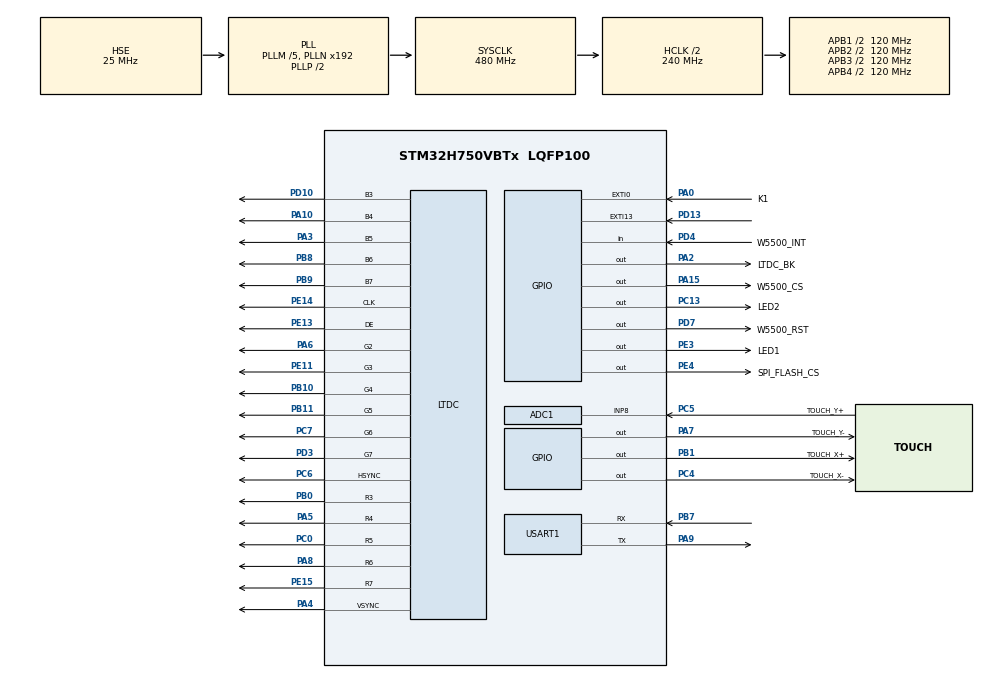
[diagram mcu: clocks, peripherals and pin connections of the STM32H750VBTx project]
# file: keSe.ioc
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ADC1.Channel-1\#ChannelRegularConversion=ADC_CHANNEL_8
ADC1.NbrOfConversionFlag=1
ADC1.OffsetNumber-1\#ChannelRegularConversion=ADC_OFFSET_NONE
ADC1.OffsetSignedSaturation-1\#ChannelRegularConversion=DISABLE
ADC1.Rank-1\#ChannelRegularConversion=1
ADC1.SamplingTime-1\#ChannelRegularConversion=ADC_SAMPLETIME_8CYCLES_5
ADC1.master=1
ADC3.Channel-0\#ChannelRegularConversion=ADC_CHANNEL_TEMPSENSOR
ADC3.NbrOfConversionFlag=1
ADC3.OffsetNumber-0\#ChannelRegularConversion=ADC_OFFSET_NONE
ADC3.OffsetSignedSaturation-0\#ChannelRegularConversion=DISABLE
ADC3.Rank-0\#ChannelRegularConversion=1
ADC3.SamplingTime-0\#ChannelRegularConversion=ADC_SAMPLETIME_810CYCLES_5
CORTEX_M7.AccessPermission-Cortex_Memory_Protection_Unit_Region0_Settings=MPU_REGION_FULL_ACCESS
CORTEX_M7.AccessPermission-Cortex_Memory_Protection_Unit_Region1_Settings=MPU_REGION_FULL_ACCESS
CORTEX_M7.AccessPermission-Cortex_Memory_Protection_Unit_Region2_Settings=MPU_REGION_FULL_ACCESS
CORTEX_M7.AccessPermission-Cortex_Memory_Protection_Unit_Region3_Settings=MPU_REGION_FULL_ACCESS
CORTEX_M7.AccessPermission-Cortex_Memory_Protection_Unit_Region4_Settings=MPU_REGION_FULL_ACCESS
CORTEX_M7.BaseAddress-Cortex_Memory_Protection_Unit_Region0_Settings=0x24000000
CORTEX_M7.BaseAddress-Cortex_Memory_Protection_Unit_Region1_Settings=0x30000000
CORTEX_M7.BaseAddress-Cortex_Memory_Protection_Unit_Region2_Settings=0x30020000
CORTEX_M7.BaseAddress-Cortex_Memory_Protection_Unit_Region3_Settings=0x30040000
CORTEX_M7.BaseAddress-Cortex_Memory_Protection_Unit_Region4_Settings=0x38000000
CORTEX_M7.CPU_DCache=Enabled
CORTEX_M7.CPU_ICache=Enabled
CORTEX_M7.Enable-Cortex_Memory_Protection_Unit_Region0_Settings=MPU_REGION_ENABLE
CORTEX_M7.Enable-Cortex_Memory_Protection_Unit_Region1_Settings=MPU_REGION_ENABLE
CORTEX_M7.Enable-Cortex_Memory_Protection_Unit_Region2_Settings=MPU_REGION_ENABLE
CORTEX_M7.Enable-Cortex_Memory_Protection_Unit_Region3_Settings=MPU_REGION_ENABLE
CORTEX_M7.Enable-Cortex_Memory_Protection_Unit_Region4_Settings=MPU_REGION_ENABLE
CORTEX_M7.IsBufferable-Cortex_Memory_Protection_Unit_Region0_Settings=MPU_ACCESS_BUFFERABLE
CORTEX_M7.IsBufferable-Cortex_Memory_Protection_Unit_Region1_Settings=MPU_ACCESS_NOT_BUFFERABLE
CORTEX_M7.IsCacheable-Cortex_Memory_Protection_Unit_Region0_Settings=MPU_ACCESS_CACHEABLE
CORTEX_M7.IsCacheable-Cortex_Memory_Protection_Unit_Region1_Settings=MPU_ACCESS_CACHEABLE
CORTEX_M7.IsCacheable-Cortex_Memory_Protection_Unit_Region2_Settings=MPU_ACCESS_CACHEABLE
CORTEX_M7.IsCacheable-Cortex_Memory_Protection_Unit_Region3_Settings=MPU_ACCESS_CACHEABLE
CORTEX_M7.IsCacheable-Cortex_Memory_Protection_Unit_Region4_Settings=MPU_ACCESS_CACHEABLE
CORTEX_M7.IsShareable-Cortex_Memory_Protection_Unit_Region0_Settings=MPU_ACCESS_SHAREABLE
CORTEX_M7.MPU_Control=MPU_PRIVILEGED_DEFAULT
CORTEX_M7.Size-Cortex_Memory_Protection_Unit_Region0_Settings=MPU_REGION_SIZE_512KB
CORTEX_M7.Size-Cortex_Memory_Protection_Unit_Region1_Settings=MPU_REGION_SIZE_128KB
CORTEX_M7.Size-Cortex_Memory_Protection_Unit_Region2_Settings=MPU_REGION_SIZE_128KB
CORTEX_M7.Size-Cortex_Memory_Protection_Unit_Region3_Settings=MPU_REGION_SIZE_32KB
CORTEX_M7.Size-Cortex_Memory_Protection_Unit_Region4_Settings=MPU_REGION_SIZE_64KB
CORTEX_M7.TypeExtField-Cortex_Memory_Protection_Unit_Region0_Settings=MPU_TEX_LEVEL1
CORTEX_M7.TypeExtField-Cortex_Memory_Protection_Unit_Region1_Settings=MPU_TEX_LEVEL0
DMA2D.ColorMode=DMA2D_OUTPUT_RGB565
DMA2D.Mode=DMA2D_R2M
LTDC.ActiveH=272
LTDC.ActiveW=480
LTDC.Alpha_L0=255
LTDC.FBStartAdress_L0=0x24040400
LTDC.HBP=43
LTDC.HFP=8
LTDC.HSync=4
LTDC.ImageHeight_L0=272
LTDC.ImageWidth_L0=480
LTDC.Layers=0
LTDC.PixelFormat_L0=LTDC_PIXEL_FORMAT_RGB565
LTDC.VBP=12
LTDC.VFP=8
LTDC.WindowX1_L0=480
LTDC.WindowY1_L0=272
Mcu.Family=STM32H7
Mcu.Name=STM32H750VBTx
Mcu.Package=LQFP100
NVIC.DMA2D_IRQn=true\:0\:0\:false\:false\:true\:true\:true\:true
NVIC.EXTI0_IRQn=true\:4\:0\:true\:false\:true\:true\:true\:true
NVIC.LTDC_ER_IRQn=true\:4\:0\:true\:false\:true\:true\:true\:true
NVIC.LTDC_IRQn=true\:4\:0\:true\:false\:true\:true\:true\:true
NVIC.PriorityGroup=NVIC_PRIORITYGROUP_4
NVIC.TIM17_IRQn=true\:2\:0\:true\:false\:true\:true\:true\:true
NVIC.TIM6_DAC_IRQn=true\:2\:0\:true\:false\:true\:true\:true\:true
PA0.GPIO_Label=K1
PA0.GPIO_ModeDefaultEXTI=GPIO_MODE_IT_FALLING
PA0.GPIO_PuPd=GPIO_PULLUP
PA0.Signal=GPXTI0
PA10.GPIO_Speed=GPIO_SPEED_FREQ_VERY_HIGH
PA10.Mode=RGB565
PA10.Signal=LTDC_B4
PA13\ (JTMS/SWDIO).Mode=Serial_Wire
PA13\ (JTMS/SWDIO).Signal=DEBUG_JTMS-SWDIO
PA14\ (JTCK/SWCLK).Mode=Serial_Wire
PA14\ (JTCK/SWCLK).Signal=DEBUG_JTCK-SWCLK
PA15\ (JTDI).GPIO_Label=W5500_CS
PA15\ (JTDI).GPIO_Speed=GPIO_SPEED_FREQ_MEDIUM
PA15\ (JTDI).PinState=GPIO_PIN_SET
PA15\ (JTDI).Signal=GPIO_Output
PA2.GPIO_Label=LTDC_BK
PA2.GPIO_ModeDefaultOutputPP=GPIO_MODE_OUTPUT_PP
PA2.GPIO_PuPd=GPIO_PULLUP
PA2.Signal=GPIO_Output
PA3.GPIO_Speed=GPIO_SPEED_FREQ_VERY_HIGH
PA3.Mode=RGB565
PA3.Signal=LTDC_B5
PA4.GPIO_Speed=GPIO_SPEED_FREQ_VERY_HIGH
PA4.Mode=RGB565
PA4.Signal=LTDC_VSYNC
PA5.GPIO_Speed=GPIO_SPEED_FREQ_VERY_HIGH
PA5.Mode=RGB565
PA5.Signal=LTDC_R4
PA6.GPIO_Speed=GPIO_SPEED_FREQ_VERY_HIGH
PA6.Mode=RGB565
PA6.Signal=LTDC_G2
PA7.GPIO_Label=TOUCH_Y-
PA7.GPIO_PuPd=GPIO_PULLDOWN
PA7.Signal=GPIO_Output
PA8.GPIO_Speed=GPIO_SPEED_FREQ_VERY_HIGH
PA8.Mode=RGB565
PA8.Signal=LTDC_R6
PA9.Mode=Asynchronous
PA9.Signal=USART1_TX
PB0.GPIO_Speed=GPIO_SPEED_FREQ_VERY_HIGH
PB0.Mode=RGB565
PB0.Signal=LTDC_R3
PB1.GPIO_Label=TOUCH_X+
PB1.Signal=GPIO_Output
PB10.GPIO_Speed=GPIO_SPEED_FREQ_VERY_HIGH
PB10.Mode=RGB565
PB10.Signal=LTDC_G4
PB11.GPIO_Speed=GPIO_SPEED_FREQ_VERY_HIGH
PB11.Mode=RGB565
PB11.Signal=LTDC_G5
PB7.Mode=Asynchronous
PB7.Signal=USART1_RX
PB8.GPIO_Speed=GPIO_SPEED_FREQ_VERY_HIGH
PB8.Mode=RGB565
PB8.Signal=LTDC_B6
PB9.GPIO_Speed=GPIO_SPEED_FREQ_VERY_HIGH
PB9.Mode=RGB565
PB9.Signal=LTDC_B7
PC0.GPIO_Speed=GPIO_SPEED_FREQ_VERY_HIGH
PC0.Mode=RGB565
PC0.Signal=LTDC_R5
PC13.GPIO_Label=LED2
PC13.Signal=GPIO_Output
PC4.GPIO_Label=TOUCH_X-
PC4.Signal=GPIO_Output
PC5.GPIO_Label=TOUCH_Y+
PC5.Signal=ADCx_INP8
PC6.GPIO_Speed=GPIO_SPEED_FREQ_VERY_HIGH
PC6.Mode=RGB565
PC6.Signal=LTDC_HSYNC
PC7.GPIO_Speed=GPIO_SPEED_FREQ_VERY_HIGH
PC7.Mode=RGB565
PC7.Signal=LTDC_G6
PD10.GPIO_Speed=GPIO_SPEED_FREQ_VERY_HIGH
PD10.Mode=RGB565
PD10.Signal=LTDC_B3
PD13.Signal=GPXTI13
PD3.GPIO_Speed=GPIO_SPEED_FREQ_VERY_HIGH
PD3.Mode=RGB565
PD3.Signal=LTDC_G7
PD4.GPIO_Label=W5500_INT
PD4.GPIO_PuPd=GPIO_PULLUP
PD4.Signal=GPIO_Input
PD7.GPIO_Label=W5500_RST
PD7.Signal=GPIO_Output
PE11.GPIO_Speed=GPIO_SPEED_FREQ_VERY_HIGH
PE11.Mode=RGB565
PE11.Signal=LTDC_G3
PE13.GPIO_Speed=GPIO_SPEED_FREQ_VERY_HIGH
PE13.Mode=RGB565
PE13.Signal=LTDC_DE
PE14.GPIO_Speed=GPIO_SPEED_FREQ_VERY_HIGH
PE14.Mode=RGB565
PE14.Signal=LTDC_CLK
PE15.GPIO_Speed=GPIO_SPEED_FREQ_VERY_HIGH
PE15.Mode=RGB565
PE15.Signal=LTDC_R7
PE3.GPIO_Label=LED1
PE3.Signal=GPIO_Output
PE4.GPIO_Label=SPI_FLASH_CS
PE4.GPIO_PuPd=GPIO_PULLDOWN
PE4.GPIO_Speed=GPIO_SPEED_FREQ_VERY_HIGH
PE4.PinState=GPIO_PIN_SET
PE4.Signal=GPIO_Output
PH0-OSC_IN\ (PH0).Mode=HSE-External-Oscillator
PH0-OSC_IN\ (PH0).Signal=RCC_OSC_IN
PH1-OSC_OUT\ (PH1).Mode=HSE-External-Oscillator
PH1-OSC_OUT\ (PH1).Signal=RCC_OSC_OUT
ProjectManager.HeapSize=0x1200
ProjectManager.StackSize=0x1200
ProjectManager.TargetToolchain=MDK-ARM V5.27
RCC.ADCCLockSelection=RCC_ADCCLKSOURCE_CLKP
RCC.ADCFreq_Value=64000000
RCC.APB1Freq_Value=120000000
RCC.APB2Freq_Value=120000000
RCC.APB3Freq_Value=120000000
RCC.APB4Freq_Value=120000000
RCC.CortexFreq_Value=480000000
RCC.D1PPRE=RCC_APB3_DIV2
RCC.D2PPRE1=RCC_APB1_DIV2
RCC.D2PPRE2=RCC_APB2_DIV2
RCC.D3PPRE=RCC_APB4_DIV2
RCC.DIVM1=5
RCC.DIVM2=25
RCC.DIVM3=25
RCC.DIVN1=192
RCC.DIVN2=266
RCC.DIVN3=480
RCC.DIVP2=1
RCC.DIVP3=3
RCC.DIVQ1=24
RCC.DIVQ2=1
RCC.DIVQ3=8
RCC.DIVR2=1
RCC.DIVR3=32
RCC.EnbaleCSS=true
RCC.HCLKFreq_Value=240000000
RCC.HPRE=RCC_HCLK_DIV2
RCC.PLLSourceVirtual=RCC_PLLSOURCE_HSE
RCC.QSPICLockSelection=RCC_QSPICLKSOURCE_PLL2
RCC.SPI123CLockSelection=RCC_SPI123CLKSOURCE_PLL3
RCC.SYSCLKFreq_VALUE=480000000
RCC.SYSCLKSource=RCC_SYSCLKSOURCE_PLLCLK
RCC.Spi45ClockSelection=RCC_SPI45CLKSOURCE_PLL2
RCC.USBCLockSelection=RCC_USBCLKSOURCE_HSI48
RCC.USBFreq_Value=48000000
SH.ADCx_INP8.0=ADC1_INP8,IN8-Single-Ended
TIM17.AutoReloadPreload=TIM_AUTORELOAD_PRELOAD_ENABLE
TIM17.Period=2500-1
TIM17.Prescaler=4800-1
TIM6.Period=10000-1
TIM6.Prescaler=100-1
USART1.VirtualMode-Asynchronous=VM_ASYNC
VP_ADC3_TempSens_Input.Mode=IN-TempSens
VP_CRC_VS_CRC.Mode=CRC_Activate
VP_DMA2D_VS_DMA2D.Mode=DMA2D_Activate
VP_TIM17_VS_ClockSourceINT.Mode=Enable_Timer
VP_TIM6_VS_ClockSourceINT.Mode=Enable_Timer
board=custom

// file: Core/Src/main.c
/* USER CODE BEGIN Header */
/**
 ******************************************************************************
 * @file           : main.c
 * @brief          : Main program body
 ******************************************************************************
 * @attention
 *
 * Copyright (c) 2022 STMicroelectronics.
 * All rights reserved.
 *
 * This software is licensed under terms that can be found in the LICENSE file
 * in the root directory of this software component.
 * If no LICENSE file comes with this software, it is provided AS-IS.
 *
 ******************************************************************************
 */
/* USER CODE END Header */
#include "main.h"
#include "adc.h"
#include "crc.h"
#include "dma2d.h"
#include "gpio.h"
#include "ltdc.h"
#include "tim.h"
#include "usart.h"

/* USER CODE BEGIN Includes */
#include "./font/fonts.h"
#include "DrawingBoard.h"
#include "bsp_lcd.h"
#include "bsp_touch_resistance.h"
/* USER CODE END Includes */

void SystemClock_Config(void);
void PeriphCommonClock_Config(void);
static void MPU_Config(void);
/* USER CODE BEGIN PFP */

void LCD_DISPLAY_ENABLE(void);
void LCD_DISPLAY_DISABLE(void);

uint32_t fontFlag = 0; /*控制显示字符时是否写入背景颜色的变量*/
char strTouch[10] = { 0 }; /*当前触摸点字符串*/

/* USER CODE END PFP */

/* USER CODE BEGIN 0 */
/**
 * @brief  板级资源初始化
 * @param  None
 * @retval None
 */
void bsp_init(void) {
	strTouch[9] = '\n'; /* 串口发送数据最后一位是换行 */
	LCD_DISPLAY_ENABLE();          /* 显示屏背光使能 */
	Adc_Init();                    /* 初始化电阻触摸屏ADC */
	HAL_ADC_Start(&hadc3);         /* 启动电阻触摸屏ADC */
	HAL_TIM_Base_Start_IT(&htim6); /* 启动内部定时器6，用于获取触摸信息 */
	HAL_TIM_Base_Start_IT(&htim17); /* 启动内部定时器17，用于闪烁led */
	LCD_Clear(LCD_COLOR565_RED);    /* 显示屏清空 */
	LCD_SetFont(&Font8x8);          /* 设置默认字体为8x8英文字体 */
	DrawingBoard_Init();            /* 画板资源初始化，按钮绘制 */
}
/* USER CODE END 0 */

int main(void) {
	/* USER CODE BEGIN 1 */
	int32_t touchP[2];  /* 触摸记录 */
	int32_t touchF = 0; /* 触摸情况记录 */
	/* USER CODE END 1 */
	/* MPU Configuration--------------------------------------------------------*/
	MPU_Config();
	/* Enable I-Cache---------------------------------------------------------*/
	SCB_EnableICache();
	/* Enable D-Cache---------------------------------------------------------*/
	SCB_EnableDCache();
	/* MCU Configuration--------------------------------------------------------*/
	/* Reset of all peripherals, Initializes the Flash interface and the Systick.
	 */
	HAL_Init();
	/* Configure the system clock */
	SystemClock_Config();
	/* Configure the peripherals common clocks */
	PeriphCommonClock_Config();
	/* Initialize all configured peripherals */
	MX_GPIO_Init();
	MX_USART1_UART_Init();
	MX_ADC3_Init();
	MX_DMA2D_Init();
	MX_LTDC_Init();
	MX_CRC_Init();
	MX_TIM6_Init();
	MX_ADC1_Init();
	MX_TIM17_Init();
	/* USER CODE BEGIN 2 */
	bsp_init();         /* 板级初始化 */
	/* USER CODE END 2 */
	/* Infinite loop */
	while (1) {
		/* USER CODE BEGIN 3 */
		/*考虑到处理时间，实际处理触摸信息频率略小于66Hz*/
		HAL_Delay(15);
		if (port[0] < 0) {
			if (touchF == 1) {
				/* 发生按下到断开的过程 */
				DrawingBoard_Button_Up(touchP[0], touchP[1]);
			}
			touchF = 0;
		}
		else {
			if (touchF == 0) {
				/* 发生断开到按下的过程 */
			}
			/*按钮按下调用画板接口*/
			DrawingBoard_Button_Down(touchP[0] < 0 ? port[0] : touchP[0],
				touchP[1] < 0 ? port[1] : touchP[1], port[0], port[1]);
			touchF = 1;
		}
		/* 记录触摸信息 */
		touchP[0] = port[0];
		touchP[1] = port[1];
		/*每次执行完毕后led2变化一次*/
		HAL_GPIO_TogglePin(LED2_GPIO_Port, LED2_Pin); /*LED闪烁*/
	}
	/* USER CODE END 3 */
}

void SystemClock_Config(void) {
	RCC_OscInitTypeDef RCC_OscInitStruct = { 0 };
	RCC_ClkInitTypeDef RCC_ClkInitStruct = { 0 };
	/** Supply configuration update enable
	 */
	HAL_PWREx_ConfigSupply(PWR_LDO_SUPPLY);
	/** Configure the main internal regulator output voltage
	 */
	__HAL_PWR_VOLTAGESCALING_CONFIG(PWR_REGULATOR_VOLTAGE_SCALE1);
	while (!__HAL_PWR_GET_FLAG(PWR_FLAG_VOSRDY)) {
	}
	__HAL_RCC_SYSCFG_CLK_ENABLE();
	__HAL_PWR_VOLTAGESCALING_CONFIG(PWR_REGULATOR_VOLTAGE_SCALE0);
	while (!__HAL_PWR_GET_FLAG(PWR_FLAG_VOSRDY)) {
	}
	/** Macro to configure the PLL clock source
	 */
	__HAL_RCC_PLL_PLLSOURCE_CONFIG(RCC_PLLSOURCE_HSE);
	/** Initializes the RCC Oscillators according to the specified parameters
	 * in the RCC_OscInitTypeDef structure.
	 */
	RCC_OscInitStruct.OscillatorType =
		RCC_OSCILLATORTYPE_HSI | RCC_OSCILLATORTYPE_HSE;
	RCC_OscInitStruct.HSEState = RCC_HSE_ON;
	RCC_OscInitStruct.HSIState = RCC_HSI_DIV1;
	RCC_OscInitStruct.HSICalibrationValue = RCC_HSICALIBRATION_DEFAULT;
	RCC_OscInitStruct.PLL.PLLState = RCC_PLL_ON;
	RCC_OscInitStruct.PLL.PLLSource = RCC_PLLSOURCE_HSE;
	RCC_OscInitStruct.PLL.PLLM = 5;
	RCC_OscInitStruct.PLL.PLLN = 192;
	RCC_OscInitStruct.PLL.PLLP = 2;
	RCC_OscInitStruct.PLL.PLLQ = 24;
	RCC_OscInitStruct.PLL.PLLR = 2;
	RCC_OscInitStruct.PLL.PLLRGE = RCC_PLL1VCIRANGE_2;
	RCC_OscInitStruct.PLL.PLLVCOSEL = RCC_PLL1VCOWIDE;
	RCC_OscInitStruct.PLL.PLLFRACN = 0;
	if (HAL_RCC_OscConfig(&RCC_OscInitStruct) != HAL_OK)
		Error_Handler();
	/** Initializes the CPU, AHB and APB buses clocks
	 */
	RCC_ClkInitStruct.ClockType = RCC_CLOCKTYPE_HCLK | RCC_CLOCKTYPE_SYSCLK |
		RCC_CLOCKTYPE_PCLK1 | RCC_CLOCKTYPE_PCLK2 |
		RCC_CLOCKTYPE_D3PCLK1 | RCC_CLOCKTYPE_D1PCLK1;
	RCC_ClkInitStruct.SYSCLKSource = RCC_SYSCLKSOURCE_PLLCLK;
	RCC_ClkInitStruct.SYSCLKDivider = RCC_SYSCLK_DIV1;
	RCC_ClkInitStruct.AHBCLKDivider = RCC_HCLK_DIV2;
	RCC_ClkInitStruct.APB3CLKDivider = RCC_APB3_DIV2;
	RCC_ClkInitStruct.APB1CLKDivider = RCC_APB1_DIV2;
	RCC_ClkInitStruct.APB2CLKDivider = RCC_APB2_DIV2;
	RCC_ClkInitStruct.APB4CLKDivider = RCC_APB4_DIV2;
	if (HAL_RCC_ClockConfig(&RCC_ClkInitStruct, FLASH_LATENCY_4) != HAL_OK)
		Error_Handler();
	/** Enables the Clock Security System
	 */
	HAL_RCC_EnableCSS();
}

void PeriphCommonClock_Config(void) {
	RCC_PeriphCLKInitTypeDef PeriphClkInitStruct = { 0 };
	/** Initializes the peripherals clock
	 */
	PeriphClkInitStruct.PeriphClockSelection = RCC_PERIPHCLK_CKPER;
	PeriphClkInitStruct.CkperClockSelection = RCC_CLKPSOURCE_HSI;
	if (HAL_RCCEx_PeriphCLKConfig(&PeriphClkInitStruct) != HAL_OK)
		Error_Handler();
}

/* USER CODE BEGIN 4 */

/**
 * @brief  重写printf底层字符串输出函数
 * @param  底层输出字符
 * @retval 返回输出的字符
 */
int stdout_putchar(int ch) {
	HAL_UART_Transmit(&huart1, (uint8_t *)&ch, 1,
		0xFFFF); // UART输出单个单位数据的函数
	return ch;
}

/**
 * @brief  使能显示屏
 * @param  None
 * @retval None
 */
void LCD_DISPLAY_ENABLE(void) {
	HAL_GPIO_WritePin(LTDC_BK_GPIO_Port, LTDC_BK_Pin, GPIO_PIN_SET);
}

/**
 * @brief  失能显示屏
 * @param  None
 * @retval None
 */
void LCD_DISPLAY_DISABLE(void) {
	HAL_GPIO_WritePin(LTDC_BK_GPIO_Port, LTDC_BK_Pin, GPIO_PIN_RESET);
}

/**
 * @brief  定时器中断回调
 * @param  定时器控制结构体指针
 * @retval None
 */
void HAL_TIM_PeriodElapsedCallback(TIM_HandleTypeDef *htim) {
	if (htim == &htim6)
		touch_ad(); /*调用电阻触摸点获取函数*/
	else if (htim == &htim17)
		HAL_GPIO_TogglePin(LED1_GPIO_Port, LED1_Pin); /*LED闪烁*/
}

/* USER CODE END 4 */

/* MPU Configuration */

void MPU_Config(void) {
	MPU_Region_InitTypeDef MPU_InitStruct = { 0 };
	/* Disables the MPU */
	HAL_MPU_Disable();
	/** Initializes and configures the Region and the memory to be protected
	 */
	MPU_InitStruct.Enable = MPU_REGION_ENABLE;
	MPU_InitStruct.Number = MPU_REGION_NUMBER0;
	MPU_InitStruct.BaseAddress = 0x24000000;
	MPU_InitStruct.Size = MPU_REGION_SIZE_512KB;
	MPU_InitStruct.SubRegionDisable = 0x0;
	MPU_InitStruct.TypeExtField = MPU_TEX_LEVEL1;
	MPU_InitStruct.AccessPermission = MPU_REGION_FULL_ACCESS;
	MPU_InitStruct.DisableExec = MPU_INSTRUCTION_ACCESS_ENABLE;
	MPU_InitStruct.IsShareable = MPU_ACCESS_SHAREABLE;
	MPU_InitStruct.IsCacheable = MPU_ACCESS_CACHEABLE;
	MPU_InitStruct.IsBufferable = MPU_ACCESS_BUFFERABLE;
	HAL_MPU_ConfigRegion(&MPU_InitStruct);
	/** Initializes and configures the Region and the memory to be protected
	 */
	MPU_InitStruct.Number = MPU_REGION_NUMBER1;
	MPU_InitStruct.BaseAddress = 0x30000000;
	MPU_InitStruct.Size = MPU_REGION_SIZE_128KB;
	MPU_InitStruct.TypeExtField = MPU_TEX_LEVEL0;
	MPU_InitStruct.IsShareable = MPU_ACCESS_NOT_SHAREABLE;
	MPU_InitStruct.IsBufferable = MPU_ACCESS_NOT_BUFFERABLE;
	HAL_MPU_ConfigRegion(&MPU_InitStruct);
	/** Initializes and configures the Region and the memory to be protected
	 */
	MPU_InitStruct.Number = MPU_REGION_NUMBER2;
	MPU_InitStruct.BaseAddress = 0x30020000;
	HAL_MPU_ConfigRegion(&MPU_InitStruct);
	/** Initializes and configures the Region and the memory to be protected
	 */
	MPU_InitStruct.Number = MPU_REGION_NUMBER3;
	MPU_InitStruct.BaseAddress = 0x30040000;
	MPU_InitStruct.Size = MPU_REGION_SIZE_32KB;
	HAL_MPU_ConfigRegion(&MPU_InitStruct);
	/** Initializes and configures the Region and the memory to be protected
	 */
	MPU_InitStruct.Number = MPU_REGION_NUMBER4;
	MPU_InitStruct.BaseAddress = 0x38000000;
	MPU_InitStruct.Size = MPU_REGION_SIZE_64KB;
	HAL_MPU_ConfigRegion(&MPU_InitStruct);
	/* Enables the MPU */
	HAL_MPU_Enable(MPU_PRIVILEGED_DEFAULT);
}

void Error_Handler(void) {
	__disable_irq();
	while (1) {
	}
}

#ifdef USE_FULL_ASSERT
/**
 * @brief  Reports the name of the source file and the source line number
 *         where the assert_param error has occurred.
 * @param  file: pointer to the source file name
 * @param  line: assert_param error line source number
 * @retval None
 */
void assert_failed(uint8_t *file, uint32_t line) {
	/* USER CODE BEGIN 6 */
	/* User can add his own implementation to report the file name and line
	   number, ex: printf("Wrong parameters value: file %s on line %d\r\n", file,
	   line) */
	/* USER CODE END 6 */
}
#endif /* USE_FULL_ASSERT */
